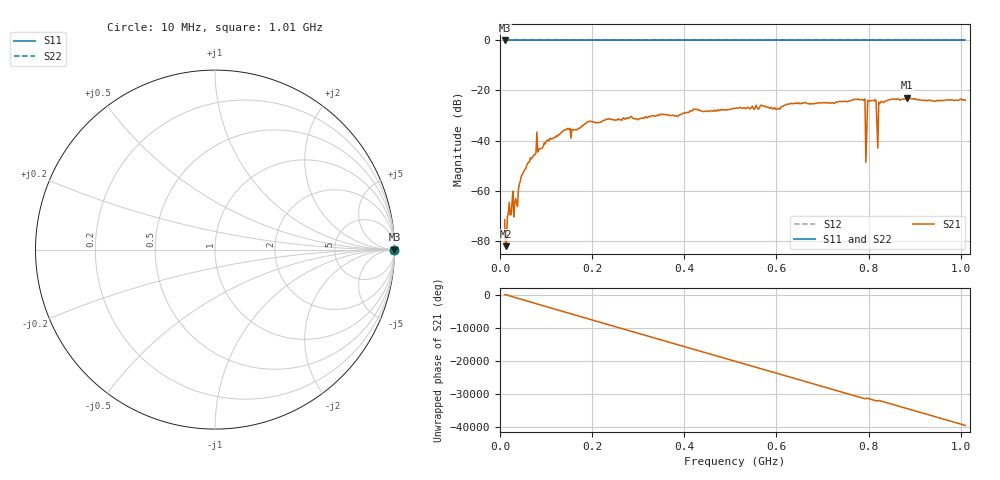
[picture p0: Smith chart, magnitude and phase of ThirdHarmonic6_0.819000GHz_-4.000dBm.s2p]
! 8/16/2025 3:13:39 AM
! C:\ANRITSUVNA\TEMP\TEMP.S2P
! CHANNEL.1
! TR.MEASUREMENT
! RAW.DATA
! RF.CORRECTION.OFF
! AVERAGING.OFF
! IF.BANDWIDTH: 5KHZ
! SWEEPTYPE:  FREQ.SWEEP(Linear)
! Reference Plane Port Info
! PORT:  PORT1  PORT2
! DISTANCE:  0  m  0  m
! TIME:  0  s  0  s
! PHASE.OFFSET:  0  deg.  0  deg.
! LOSS:  0  dB  0  dB
! REF.LOSS:  0  dB  0  dB
! REF.FREQ:  0  Hz  0  Hz
! Power Info
! POWER:  -20  dBm  -20  dBm
! EFF.POWER:  -20  dBm  -20  dBm
! SOURCE.ATTEN:  0  dB  0  dB
! TEST.ATTEN:  0  dB  0  dB
# GHZ S RI R 50.0
! FREQ.GHZ  S11RE  S11IM  S21RE  S21IM  S12RE  S12IM  S22RE  S22IM
!; PortSelection: Port_12
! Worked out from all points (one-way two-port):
!   501 points, 10 MHz to 1.01 GHz, reference 50 ohm
!   highest |S21| = -22.83 dB at 884 MHz (marker M1); lowest = -82.2 dB at 12 MHz (marker M2)
!   lowest |S11| = 0.0 dB at 10 MHz (marker M3)
!   |S11| at or under -10 dB: nowhere
!   |S22| runs from 0.0 to 0.0 dB; largest |S21 - S12| = 1.1
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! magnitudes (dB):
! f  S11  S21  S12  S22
! 10 MHz  0.0  -71.6  0.0  0.0
! 12 MHz  0.0  -82.2  0.0  0.0
! 24 MHz  0.0  -69.7  0.0  0.0
! 34 MHz  0.0  -63.1  0.0  0.0
! 48 MHz  0.0  -53.7  0.0  0.0
! 76 MHz  0.0  -45.7  0.0  0.0
! 142 MHz  0.0  -35.9  0.0  0.0
! 178 MHz  0.0  -34.1  0.0  0.0
! 344 MHz  0.0  -30.1  0.0  0.0
! 510 MHz  0.0  -27.2  0.0  0.0
! 678 MHz  0.0  -25.3  0.0  0.0
! 788 MHz  0.0  -23.9  0.0  0.0
! 792 MHz  0.0  -23.4  0.0  0.0
! 798 MHz  0.0  -24.0  0.0  0.0
! 802 MHz  0.0  -24.2  0.0  0.0
! 812 MHz  0.0  -24.2  0.0  0.0
! 816 MHz  0.0  -24.0  0.0  0.0
! 822 MHz  0.0  -24.7  0.0  0.0
! 826 MHz  0.0  -24.6  0.0  0.0
! 844 MHz  0.0  -23.7  0.0  0.0
! 884 MHz  0.0  -22.8  0.0  0.0
! 1.01 GHz  0.0  -24.0  0.0  0.0
